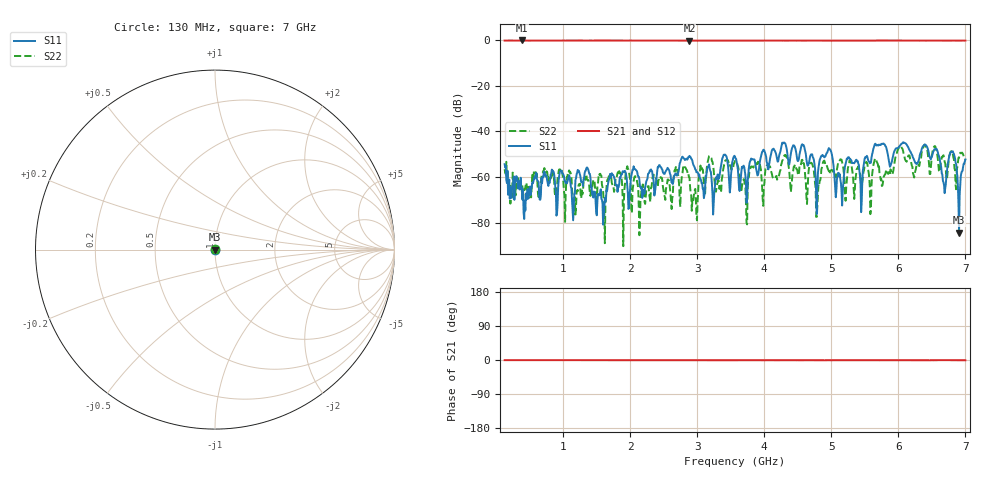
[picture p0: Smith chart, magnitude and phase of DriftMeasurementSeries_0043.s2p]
# Hz S RI R 50.000000
! Metas.Vna.Tools, 2.8.8664.20301
! Metas.Vna.Data, 2.8.8664.20285
! Created: UTC 2024.02.11 10:08:20
! FREQ  re:S1,1  im:S1,1  re:S2,1  im:S2,1  re:S1,2  im:S1,2  re:S2,2  im:S2,2
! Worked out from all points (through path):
!   801 points, 130 MHz to 7 GHz, reference 50 ohm
!   highest |S21| = -0.03 dB at 387.6 MHz (marker M1); lowest = -0.2 dB at 2.887 GHz (marker M2)
!   lowest |S11| = -84.5 dB at 6.906 GHz (marker M3), VSWR 1.00, Z = 50 - j0.00558 ohm
!   |S11| at or under -10 dB: start of sweep to end of sweep
!   |S22| runs from -90.4 to -45.8 dB; largest |S21 - S12| = 0.017
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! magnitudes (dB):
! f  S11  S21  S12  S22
! 130 MHz  -54.4  -0.1  0.0  -56.6
! 387.6 MHz  -64.7  0.0  0.0  -66.3
! 1.281 GHz  -62.2  0.0  0.0  -65.1
! 1.607 GHz  -76.4  -0.1  0.0  -71.3
! 1.719 GHz  -59.4  -0.1  0.0  -60.1
! 2.423 GHz  -55.7  -0.1  0.0  -61.4
! 2.887 GHz  -50.7  -0.2  0.0  -60.2
! 3.247 GHz  -71.4  -0.1  0.0  -57.1
! 3.565 GHz  -51.0  -0.1  0.0  -52.9
! 3.72 GHz  -59.2  -0.1  0.0  -64.1
! 3.9 GHz  -59.3  -0.1  0.0  -54.3
! 4.716 GHz  -50.1  -0.1  0.0  -54.3
! 4.793 GHz  -65.5  -0.1  0.0  -73.0
! 4.896 GHz  -51.4  -0.1  0.0  -52.8
! 5.154 GHz  -66.7  -0.1  0.0  -52.4
! 5.257 GHz  -51.3  -0.1  0.0  -55.1
! 5.858 GHz  -52.6  -0.1  0.0  -58.1
! 6.399 GHz  -45.7  -0.1  0.0  -46.0
! 6.682 GHz  -63.8  -0.1  0.0  -51.4
! 6.802 GHz  -49.0  -0.1  0.0  -48.8
! 6.906 GHz  -84.5  -0.1  0.0  -51.5
! 7 GHz  -52.3  -0.1  0.0  -52.5
